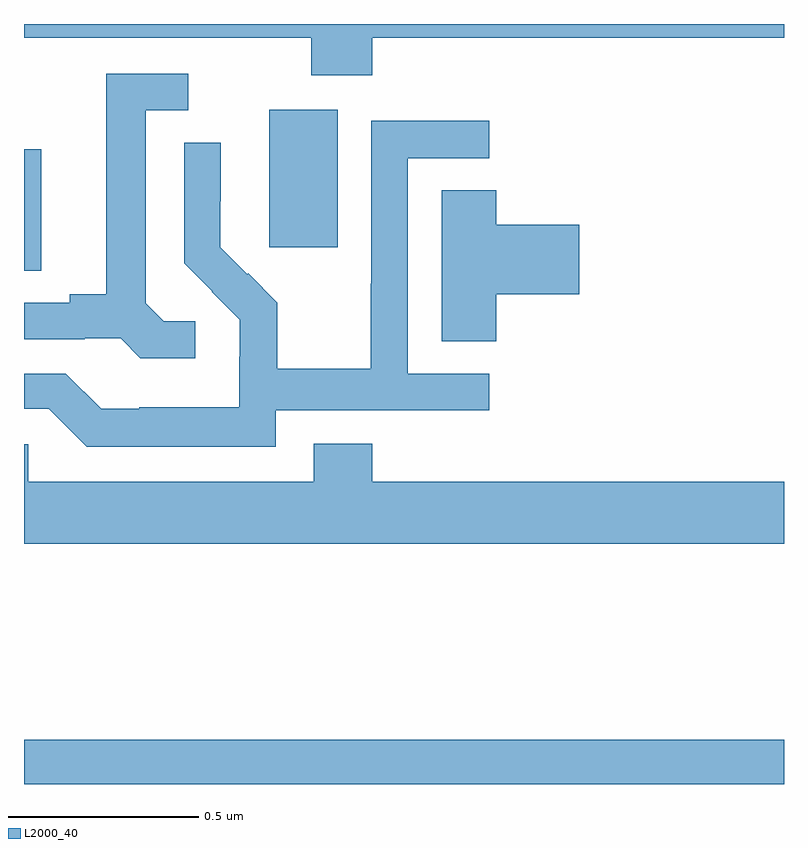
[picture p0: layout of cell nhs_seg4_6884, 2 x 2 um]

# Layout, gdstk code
import gdstk
lib = gdstk.Library(unit=1e-6, precision=1e-09)
def R(c, l, rs):  # rectangles x0, y0, x1, y1
    for r in rs: c.add(gdstk.rectangle(r[:2], r[2:], *l))
def P(c, l, *ps):  # polygons
    for p in ps: c.add(gdstk.Polygon(p, *l))
L2000_40 = (2000, 40)

nhs_seg4_6884 = lib.new_cell('nhs_seg4_6884')
R(nhs_seg4_6884, L2000_40, [(196,750.9,198,751.016), (196,752.251,196.045,752.571), (196.646,752.313,196.825,752.674)])
P(nhs_seg4_6884, L2000_40, [(196.916,752.864),(198,752.864),(198,752.9),(196,752.9),(196,752.864),(196.756,752.864),(196.756,752.765),(196.916,752.765)],
  [(196.45,752.118),(196.368,752.118),(196.321,752.165),(196.321,752.673),(196.432,752.673),(196.432,752.769),(196.217,752.769),(196.217,752.189),(196.121,752.189),(196.121,752.166),(196,752.166),(196,752.07),(196.16,752.07),(196.16,752.073),(196.254,752.073),(196.306,752.021),(196.45,752.021)],
  [(196.662,751.884),(197.224,751.884),(197.224,751.98),(197.01,751.98),(197.01,752.547),(197.224,752.547),(197.224,752.646),(196.914,752.646),(196.914,752.216),(196.912,752.216),(196.912,751.993),(196.667,751.993),(196.667,752.167),(196.59,752.244),(196.587,752.241),(196.517,752.312),(196.517,752.434),(196.518,752.434),(196.518,752.588),(196.422,752.588),(196.422,752.27),(196.495,752.197),(196.494,752.196),(196.568,752.122),(196.568,752.025),(196.566,752.025),(196.566,751.891),(196.303,751.891),(196.303,751.887),(196.203,751.887),(196.11,751.98),(196,751.98),(196,751.887),(196.065,751.887),(196.165,751.787),(196.662,751.787)],
  [(197.243,752.189),(197.461,752.189),(197.461,752.372),(197.243,752.372),(197.243,752.462),(197.099,752.462),(197.099,752.065),(197.243,752.065)],
  [(198,751.696),(196.916,751.696),(196.916,751.795),(196.763,751.795),(196.763,751.696),(196.011,751.696),(196.011,751.794),(196,751.794),(196,751.532),(198,751.532)])

lib.write_gds('nhs_seg4_6884.gds')
